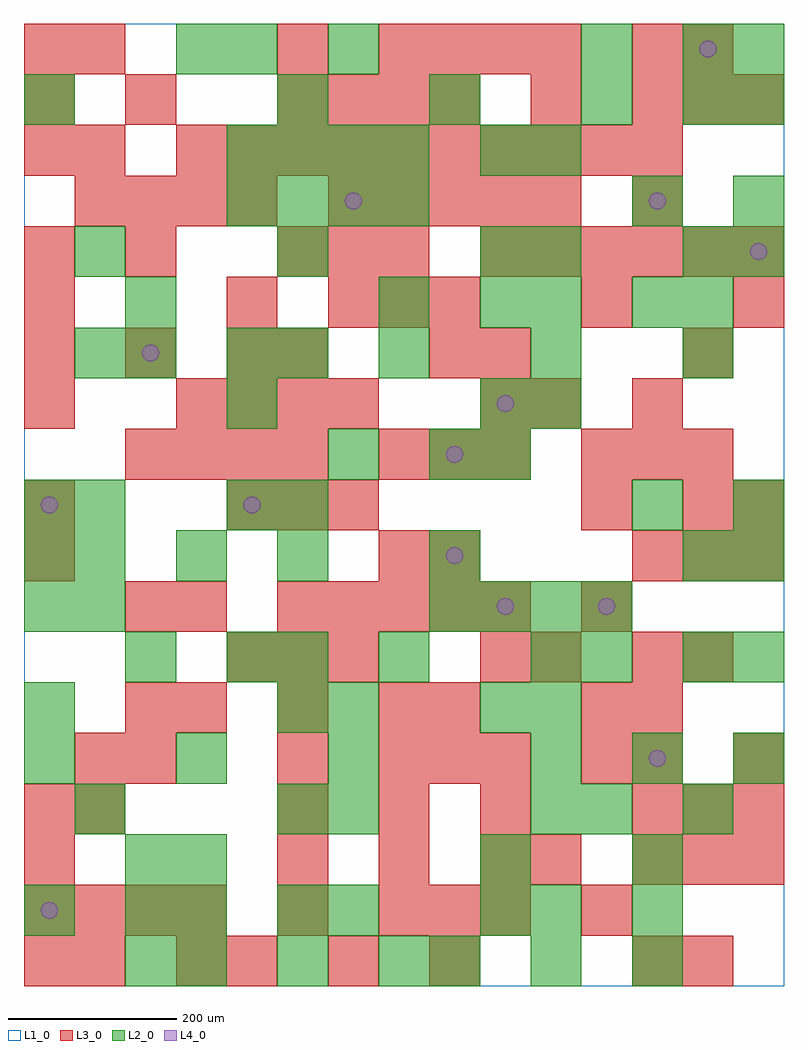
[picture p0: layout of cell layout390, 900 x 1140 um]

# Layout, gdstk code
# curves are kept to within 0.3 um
import gdstk
lib = gdstk.Library(unit=1e-6, precision=1e-09)
def R(c, l, rs):  # rectangles x0, y0, x1, y1
    for r in rs: c.add(gdstk.rectangle(r[:2], r[2:], *l))
def A(c, l, x, y, w, h, nx, ny, dx, dy):  # array of equal rectangles
    R(c, l, [(x+i*dx, y+j*dy, x+i*dx+w, y+j*dy+h) for i in range(nx) for j in range(ny)])
def P(c, l, *ps):  # polygons
    for p in ps: c.add(gdstk.Polygon(p, *l))
L1_0 = (1, 0)
L2_0 = (2, 0)
L3_0 = (3, 0)
L4_0 = (4, 0)

layout390 = lib.new_cell('layout390')
R(layout390, L1_0, [(0,0,900,1140)])
A(layout390, L2_0, 120, 0, 60, 60, 1, 3, 0, 60)
A(layout390, L2_0, 180, 0, 60, 60, 3, 1, 120, 0)
A(layout390, L2_0, 480, 0, 60, 60, 3, 1, 120, 0)
A(layout390, L2_0, 300, 60, 60, 60, 1, 3, 0, 120)
A(layout390, L2_0, 360, 60, 60, 60, 1, 3, 0, 120)
A(layout390, L2_0, 600, 60, 60, 60, 1, 3, 0, 120)
A(layout390, L2_0, 0, 240, 60, 60, 3, 1, 180, 0)
A(layout390, L2_0, 600, 240, 60, 60, 3, 1, 120, 0)
A(layout390, L2_0, 300, 360, 60, 60, 1, 3, 0, 180)
A(layout390, L2_0, 0, 420, 60, 60, 1, 3, 0, 60)
A(layout390, L2_0, 480, 420, 60, 60, 4, 1, 60, 0)
A(layout390, L2_0, 60, 480, 60, 60, 3, 1, 120, 0)
A(layout390, L2_0, 420, 720, 60, 60, 3, 1, 180, 0)
A(layout390, L2_0, 60, 840, 60, 60, 3, 1, 240, 0)
A(layout390, L2_0, 240, 900, 60, 60, 4, 2, 60, 60)
A(layout390, L2_0, 300, 1020, 60, 60, 3, 1, 180, 0)
R(layout390, L2_0, [(0,60,60,120), (180,60,240,120), (540,60,600,120), (720,60,780,120), (180,120,240,180), (540,120,600,180), (720,120,780,180), (60,180,120,240), (660,180,720,240), (780,180,840,240), (0,300,60,360), (540,300,600,360), (120,360,180,420), (240,360,300,420), (420,360,480,420), (600,360,660,420), (660,360,720,420), (780,360,840,420), (840,360,900,420), (60,420,120,480), (480,480,540,540), (780,480,840,540), (840,480,900,540), (60,540,120,600), (240,540,300,600), (720,540,780,600), (840,540,900,600), (360,600,420,660), (480,600,540,660), (540,600,600,660), (240,660,300,720), (540,660,600,720), (600,660,660,720), (60,720,120,780), (120,720,180,780), (240,720,300,780), (120,780,180,840), (420,780,480,840), (540,780,600,840), (600,780,660,840), (720,780,780,840), (780,780,840,840), (600,840,660,900), (780,840,840,900), (840,840,900,900), (720,900,780,960), (840,900,900,960), (540,960,600,1020), (600,960,660,1020), (0,1020,60,1080), (780,1020,840,1080), (840,1020,900,1080), (180,1080,240,1140), (240,1080,300,1140), (360,1080,420,1140), (660,1080,720,1140), (780,1080,840,1140), (840,1080,900,1140)])
A(layout390, L3_0, 240, 0, 60, 60, 3, 1, 120, 0)
A(layout390, L3_0, 0, 60, 60, 60, 4, 1, 60, 0)
A(layout390, L3_0, 420, 60, 60, 60, 3, 2, 60, 180)
A(layout390, L3_0, 300, 120, 60, 60, 3, 2, 120, 60)
A(layout390, L3_0, 720, 120, 60, 60, 3, 2, 60, 60)
A(layout390, L3_0, 720, 240, 60, 60, 1, 3, 0, 60)
A(layout390, L3_0, 180, 300, 60, 60, 3, 1, 120, 0)
A(layout390, L3_0, 660, 300, 60, 60, 1, 3, 0, 120)
A(layout390, L3_0, 240, 360, 60, 60, 3, 2, 60, 180)
A(layout390, L3_0, 780, 360, 60, 60, 1, 3, 0, 180)
A(layout390, L3_0, 300, 420, 60, 60, 5, 1, 60, 0)
A(layout390, L3_0, 720, 480, 60, 60, 3, 2, 60, 540)
A(layout390, L3_0, 0, 540, 60, 60, 1, 3, 0, 120)
A(layout390, L3_0, 120, 600, 60, 60, 4, 1, 60, 0)
A(layout390, L3_0, 420, 600, 60, 60, 3, 1, 60, 0)
A(layout390, L3_0, 660, 600, 60, 60, 3, 1, 60, 0)
A(layout390, L3_0, 180, 660, 60, 60, 4, 1, 60, 0)
A(layout390, L3_0, 0, 720, 60, 60, 3, 1, 120, 0)
A(layout390, L3_0, 360, 780, 60, 60, 3, 1, 60, 0)
A(layout390, L3_0, 300, 840, 60, 60, 3, 1, 60, 0)
A(layout390, L3_0, 540, 840, 60, 60, 6, 1, 60, 0)
A(layout390, L3_0, 60, 900, 60, 60, 4, 1, 60, 0)
A(layout390, L3_0, 360, 900, 60, 60, 5, 1, 60, 0)
A(layout390, L3_0, 0, 960, 60, 60, 1, 3, 0, 60)
A(layout390, L3_0, 180, 960, 60, 60, 10, 1, 60, 0)
A(layout390, L3_0, 300, 1020, 60, 60, 4, 1, 60, 0)
A(layout390, L3_0, 420, 1080, 60, 60, 4, 1, 60, 0)
R(layout390, L3_0, [(0,0,60,60), (60,0,120,60), (180,0,240,60), (720,0,780,60), (780,0,840,60), (300,60,360,120), (660,60,720,120), (0,120,60,180), (600,120,660,180), (0,180,60,240), (60,180,120,240), (60,240,120,300), (120,240,180,300), (300,240,360,300), (660,240,720,300), (840,240,900,300), (120,300,180,360), (480,300,540,360), (540,360,600,420), (600,360,660,420), (120,420,180,480), (180,420,240,480), (0,480,60,540), (420,480,480,540), (480,480,540,540), (840,540,900,600), (540,660,600,720), (600,660,660,720), (720,660,780,720), (300,720,360,780), (480,720,540,780), (540,720,600,780), (240,780,300,840), (660,780,720,840), (840,780,900,840), (0,840,60,900), (120,840,180,900), (720,900,780,960), (60,960,120,1020), (120,1020,180,1080), (600,1020,660,1080), (60,1080,120,1140), (300,1080,360,1140), (720,1080,780,1140), (780,1080,840,1140)])
P(layout390, L4_0, [(40,90),(39.239,93.827),(37.071,97.071),(33.827,99.239),(30,100),(26.173,99.239),(22.929,97.071),(20.761,93.827),(20,90),(20.761,86.173),(22.929,82.929),(26.173,80.761),(30,80),(33.827,80.761),(37.071,82.929),(39.239,86.173)],
  [(40,570),(39.239,573.827),(37.071,577.071),(33.827,579.239),(30,580),(26.173,579.239),(22.929,577.071),(20.761,573.827),(20,570),(20.761,566.173),(22.929,562.929),(26.173,560.761),(30,560),(33.827,560.761),(37.071,562.929),(39.239,566.173)],
  [(160,750),(159.239,753.827),(157.071,757.071),(153.827,759.239),(150,760),(146.173,759.239),(142.929,757.071),(140.761,753.827),(140,750),(140.761,746.173),(142.929,742.929),(146.173,740.761),(150,740),(153.827,740.761),(157.071,742.929),(159.239,746.173)],
  [(280,570),(279.239,573.827),(277.071,577.071),(273.827,579.239),(270,580),(266.173,579.239),(262.929,577.071),(260.761,573.827),(260,570),(260.761,566.173),(262.929,562.929),(266.173,560.761),(270,560),(273.827,560.761),(277.071,562.929),(279.239,566.173)],
  [(400,930),(399.239,933.827),(397.071,937.071),(393.827,939.239),(390,940),(386.173,939.239),(382.929,937.071),(380.761,933.827),(380,930),(380.761,926.173),(382.929,922.929),(386.173,920.761),(390,920),(393.827,920.761),(397.071,922.929),(399.239,926.173)],
  [(520,510),(519.239,513.827),(517.071,517.071),(513.827,519.239),(510,520),(506.173,519.239),(502.929,517.071),(500.761,513.827),(500,510),(500.761,506.173),(502.929,502.929),(506.173,500.761),(510,500),(513.827,500.761),(517.071,502.929),(519.239,506.173)],
  [(520,630),(519.239,633.827),(517.071,637.071),(513.827,639.239),(510,640),(506.173,639.239),(502.929,637.071),(500.761,633.827),(500,630),(500.761,626.173),(502.929,622.929),(506.173,620.761),(510,620),(513.827,620.761),(517.071,622.929),(519.239,626.173)],
  [(580,450),(579.239,453.827),(577.071,457.071),(573.827,459.239),(570,460),(566.173,459.239),(562.929,457.071),(560.761,453.827),(560,450),(560.761,446.173),(562.929,442.929),(566.173,440.761),(570,440),(573.827,440.761),(577.071,442.929),(579.239,446.173)],
  [(580,690),(579.239,693.827),(577.071,697.071),(573.827,699.239),(570,700),(566.173,699.239),(562.929,697.071),(560.761,693.827),(560,690),(560.761,686.173),(562.929,682.929),(566.173,680.761),(570,680),(573.827,680.761),(577.071,682.929),(579.239,686.173)],
  [(700,450),(699.239,453.827),(697.071,457.071),(693.827,459.239),(690,460),(686.173,459.239),(682.929,457.071),(680.761,453.827),(680,450),(680.761,446.173),(682.929,442.929),(686.173,440.761),(690,440),(693.827,440.761),(697.071,442.929),(699.239,446.173)],
  [(760,270),(759.239,273.827),(757.071,277.071),(753.827,279.239),(750,280),(746.173,279.239),(742.929,277.071),(740.761,273.827),(740,270),(740.761,266.173),(742.929,262.929),(746.173,260.761),(750,260),(753.827,260.761),(757.071,262.929),(759.239,266.173)],
  [(760,930),(759.239,933.827),(757.071,937.071),(753.827,939.239),(750,940),(746.173,939.239),(742.929,937.071),(740.761,933.827),(740,930),(740.761,926.173),(742.929,922.929),(746.173,920.761),(750,920),(753.827,920.761),(757.071,922.929),(759.239,926.173)],
  [(820,1110),(819.239,1113.827),(817.071,1117.071),(813.827,1119.239),(810,1120),(806.173,1119.239),(802.929,1117.071),(800.761,1113.827),(800,1110),(800.761,1106.173),(802.929,1102.929),(806.173,1100.761),(810,1100),(813.827,1100.761),(817.071,1102.929),(819.239,1106.173)],
  [(880,870),(879.239,873.827),(877.071,877.071),(873.827,879.239),(870,880),(866.173,879.239),(862.929,877.071),(860.761,873.827),(860,870),(860.761,866.173),(862.929,862.929),(866.173,860.761),(870,860),(873.827,860.761),(877.071,862.929),(879.239,866.173)])

lib.write_gds('layout390.gds')
